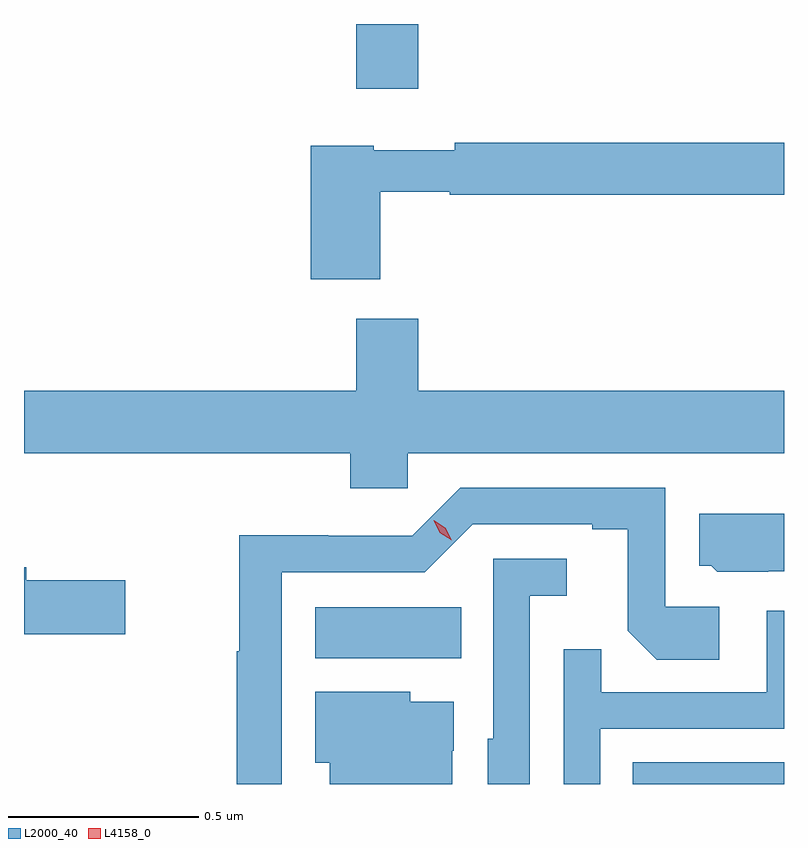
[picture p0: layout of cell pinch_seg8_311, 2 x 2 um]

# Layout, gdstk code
import gdstk
lib = gdstk.Library(unit=1e-6, precision=1e-09)
def R(c, l, rs):  # rectangles x0, y0, x1, y1
    for r in rs: c.add(gdstk.rectangle(r[:2], r[2:], *l))
def P(c, l, *ps):  # polygons
    for p in ps: c.add(gdstk.Polygon(p, *l))
L2000_40 = (2000, 40)
L4158_0 = (4158, 0)

pinch_seg8_311 = lib.new_cell('pinch_seg8_311')
R(pinch_seg8_311, L2000_40, [(537.364,1143.601,537.762,1143.658), (536.528,1143.932,536.912,1144.066), (536.636,1145.43,536.8,1145.601)])
P(pinch_seg8_311, L2000_40, [(536.699,1145.16),(536.882,1145.16),(536.882,1145.152),(537.762,1145.152),(537.762,1145.288),(536.896,1145.288),(536.896,1145.269),(536.682,1145.269),(536.682,1145.281),(536.516,1145.281),(536.516,1144.929),(536.699,1144.929)],
  [(536.772,1144.472),(537.762,1144.472),(537.762,1144.636),(536.8,1144.636),(536.8,1144.825),(536.636,1144.825),(536.636,1144.636),(535.762,1144.636),(535.762,1144.472),(536.621,1144.472),(536.621,1144.379),(536.772,1144.379)],
  [(536.44,1144.158),(536.817,1144.158),(536.943,1144.284),(537.257,1144.284),(537.257,1144.272),(537.351,1144.272),(537.351,1144.004),(537.427,1143.928),(537.592,1143.928),(537.592,1144.068),(537.45,1144.068),(537.45,1144.38),(536.91,1144.38),(536.784,1144.254),(536.562,1144.254),(536.562,1144.256),(536.329,1144.256),(536.329,1143.951),(536.322,1143.951),(536.322,1143.601),(536.44,1143.601)],
  [(537.72,1144.161),(537.762,1144.161),(537.762,1144.312),(537.539,1144.312),(537.539,1144.176),(537.57,1144.176),(537.586,1144.16),(537.72,1144.16)],
  [(537.093,1144.097),(537.19,1144.097),(537.19,1144.194),(536.997,1144.194),(536.997,1143.72),(536.982,1143.72),(536.982,1143.601),(537.093,1143.601)],
  [(536.029,1144.137),(535.768,1144.137),(535.768,1144.171),(535.762,1144.171),(535.762,1143.995),(536.029,1143.995)],
  [(537.279,1143.747),(537.762,1143.747),(537.762,1144.057),(537.717,1144.057),(537.717,1143.843),(537.281,1143.843),(537.281,1143.956),(537.183,1143.956),(537.183,1143.601),(537.279,1143.601)],
  [(536.889,1143.688),(536.893,1143.688),(536.893,1143.817),(536.778,1143.817),(536.778,1143.844),(536.528,1143.844),(536.528,1143.657),(536.567,1143.657),(536.567,1143.601),(536.889,1143.601)])
P(pinch_seg8_311, L4158_0, [(536.887,1144.242),(536.856,1144.262),(536.84,1144.294),(536.84,1144.295),(536.84,1144.295),(536.871,1144.275),(536.888,1144.243),(536.888,1144.242)])

lib.write_gds('pinch_seg8_311.gds')
